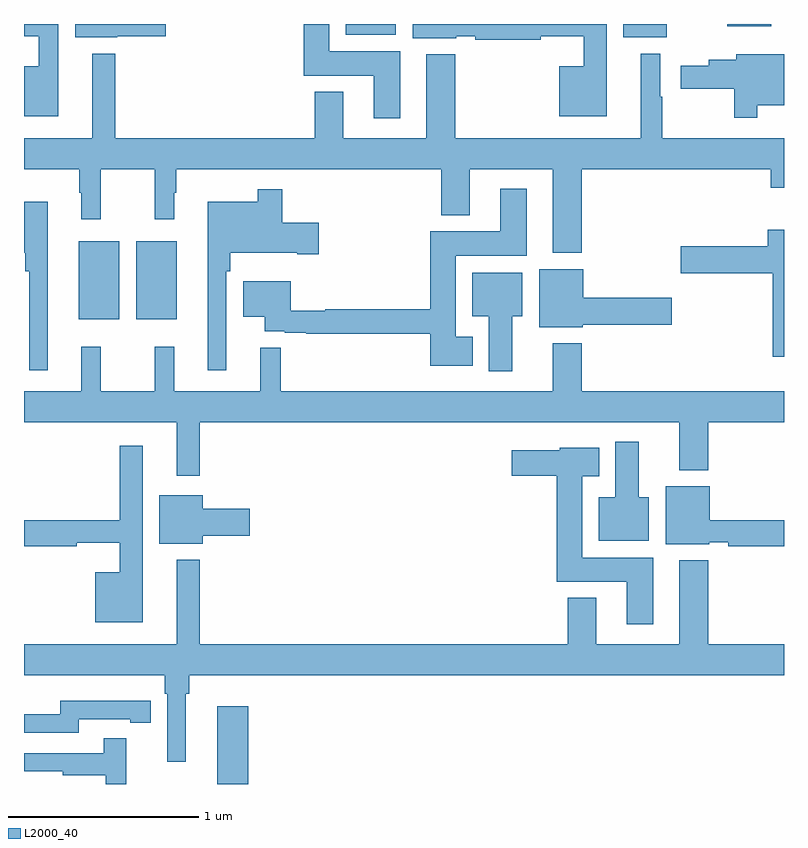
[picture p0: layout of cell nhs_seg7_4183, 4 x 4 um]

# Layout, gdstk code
import gdstk
lib = gdstk.Library(unit=1e-6, precision=1e-09)
def R(c, l, rs):  # rectangles x0, y0, x1, y1
    for r in rs: c.add(gdstk.rectangle(r[:2], r[2:], *l))
def P(c, l, *ps):  # polygons
    for p in ps: c.add(gdstk.Polygon(p, *l))
L2000_40 = (2000, 40)

nhs_seg7_4183 = lib.new_cell('nhs_seg7_4183')
R(nhs_seg7_4183, L2000_40, [(376.016,1044,376.18,1044.409), (375.287,1046.447,375.502,1046.857), (375.59,1046.447,375.805,1046.857), (378.155,1047.929,378.382,1048), (376.694,1047.944,376.957,1048), (378.702,1047.989,378.934,1048)])
P(nhs_seg7_4183, L2000_40, [(378.067,1048),(377.045,1048),(377.045,1047.926),(377.274,1047.926),(377.274,1047.936),(377.374,1047.936),(377.374,1047.916),(377.72,1047.916),(377.72,1047.935),(377.946,1047.935),(377.946,1047.778),(377.816,1047.778),(377.816,1047.515),(378.067,1047.515)],
  [(376.981,1047.856),(376.606,1047.856),(376.606,1048),(376.472,1048),(376.472,1047.728),(376.841,1047.728),(376.841,1047.504),(376.981,1047.504)],
  [(375.181,1048),(375,1048),(375,1047.935),(375.077,1047.935),(375.077,1047.778),(375,1047.778),(375,1047.515),(375.181,1047.515)],
  [(375.492,1047.935),(375.745,1047.935),(375.745,1048),(375.269,1048),(375.269,1047.929),(375.492,1047.929)],
  [(377.936,1047.236),(378.929,1047.236),(378.929,1047.137),(379,1047.137),(379,1047.4),(378.359,1047.4),(378.359,1047.617),(378.349,1047.617),(378.349,1047.844),(378.245,1047.844),(378.245,1047.4),(377.27,1047.4),(377.27,1047.841),(377.117,1047.841),(377.117,1047.4),(376.681,1047.4),(376.681,1047.643),(376.529,1047.643),(376.529,1047.4),(375.481,1047.4),(375.481,1047.844),(375.359,1047.844),(375.359,1047.4),(375,1047.4),(375,1047.236),(375.291,1047.236),(375.291,1047.113),(375.302,1047.113),(375.302,1046.973),(375.404,1046.973),(375.404,1047.236),(375.688,1047.236),(375.688,1046.973),(375.79,1046.973),(375.79,1047.113),(375.802,1047.113),(375.802,1047.236),(377.195,1047.236),(377.195,1046.993),(377.347,1046.993),(377.347,1047.236),(377.783,1047.236),(377.783,1046.795),(377.936,1046.795)],
  [(378.859,1047.572),(379,1047.572),(379,1047.841),(378.749,1047.841),(378.749,1047.811),(378.605,1047.811),(378.605,1047.781),(378.456,1047.781),(378.456,1047.659),(378.738,1047.659),(378.738,1047.507),(378.859,1047.507)],
  [(377.362,1046.353),(377.272,1046.353),(377.272,1046.78),(377.647,1046.78),(377.647,1047.133),(377.507,1047.133),(377.507,1046.908),(377.138,1046.908),(377.138,1046.498),(376.586,1046.498),(376.586,1046.491),(376.403,1046.491),(376.403,1046.647),(376.154,1046.647),(376.154,1046.459),(376.268,1046.459),(376.268,1046.382),(376.372,1046.382),(376.372,1046.376),(376.486,1046.376),(376.486,1046.37),(377.138,1046.37),(377.138,1046.201),(377.362,1046.201)],
  [(376.065,1046.699),(376.085,1046.699),(376.085,1046.795),(376.439,1046.795),(376.439,1046.788),(376.552,1046.788),(376.552,1046.953),(376.358,1046.953),(376.358,1047.13),(376.23,1047.13),(376.23,1047.064),(375.968,1047.064),(375.968,1046.178),(376.065,1046.178)],
  [(375.124,1047.064),(375,1047.064),(375,1046.795),(375.007,1046.795),(375.007,1046.699),(375.027,1046.699),(375.027,1046.178),(375.124,1046.178)],
  [(379,1046.916),(378.914,1046.916),(378.914,1046.829),(378.456,1046.829),(378.456,1046.687),(378.94,1046.687),(378.94,1046.25),(379,1046.25)],
  [(377.94,1046.416),(378.409,1046.416),(378.409,1046.558),(377.944,1046.558),(377.944,1046.71),(377.711,1046.71),(377.711,1046.405),(377.94,1046.405)],
  [(377.569,1046.462),(377.623,1046.462),(377.623,1046.692),(377.36,1046.692),(377.36,1046.462),(377.447,1046.462),(377.447,1046.172),(377.569,1046.172)],
  [(375.925,1045.904),(378.449,1045.904),(378.449,1045.652),(378.602,1045.652),(378.602,1045.904),(379,1045.904),(379,1046.068),(377.936,1046.068),(377.936,1046.32),(377.783,1046.32),(377.783,1046.068),(376.352,1046.068),(376.352,1046.297),(376.244,1046.297),(376.244,1046.068),(375.791,1046.068),(375.791,1046.302),(375.688,1046.302),(375.688,1046.068),(375.404,1046.068),(375.404,1046.302),(375.302,1046.302),(375.302,1046.068),(375,1046.068),(375,1045.904),(375.803,1045.904),(375.803,1045.623),(375.925,1045.623)],
  [(378.289,1045.51),(378.235,1045.51),(378.235,1045.801),(378.113,1045.801),(378.113,1045.51),(378.026,1045.51),(378.026,1045.28),(378.289,1045.28)],
  [(375.625,1045.78),(375.504,1045.78),(375.504,1045.388),(375,1045.388),(375,1045.252),(375.278,1045.252),(375.278,1045.271),(375.504,1045.271),(375.504,1045.114),(375.374,1045.114),(375.374,1044.851),(375.625,1044.851)],
  [(378.313,1045.192),(377.938,1045.192),(377.938,1045.619),(378.028,1045.619),(378.028,1045.771),(377.82,1045.771),(377.82,1045.756),(377.568,1045.756),(377.568,1045.622),(377.804,1045.622),(377.804,1045.064),(378.173,1045.064),(378.173,1044.84),(378.313,1044.84)],
  [(379,1045.388),(378.61,1045.388),(378.61,1045.567),(378.377,1045.567),(378.377,1045.262),(378.606,1045.262),(378.606,1045.272),(378.706,1045.272),(378.706,1045.252),(379,1045.252)],
  [(375.94,1045.307),(376.189,1045.307),(376.189,1045.449),(375.94,1045.449),(375.94,1045.519),(375.713,1045.519),(375.713,1045.265),(375.94,1045.265)],
  [(379,1044.736),(378.602,1044.736),(378.602,1045.177),(378.449,1045.177),(378.449,1044.736),(378.013,1044.736),(378.013,1044.979),(377.861,1044.979),(377.861,1044.736),(375.925,1044.736),(375.925,1045.18),(375.803,1045.18),(375.803,1044.736),(375,1044.736),(375,1044.572),(375.74,1044.572),(375.74,1044.476),(375.753,1044.476),(375.753,1044.117),(375.85,1044.117),(375.85,1044.476),(375.869,1044.476),(375.869,1044.572),(379,1044.572)],
  [(375.288,1044.342),(375.56,1044.342),(375.56,1044.322),(375.668,1044.322),(375.668,1044.438),(375.56,1044.438),(375.56,1044.439),(375.192,1044.439),(375.192,1044.366),(375,1044.366),(375,1044.27),(375.288,1044.27)],
  [(375.539,1044.241),(375.421,1044.241),(375.421,1044.162),(375,1044.162),(375,1044.066),(375.205,1044.066),(375.205,1044.046),(375.429,1044.046),(375.429,1044),(375.539,1044)])

lib.write_gds('nhs_seg7_4183.gds')
